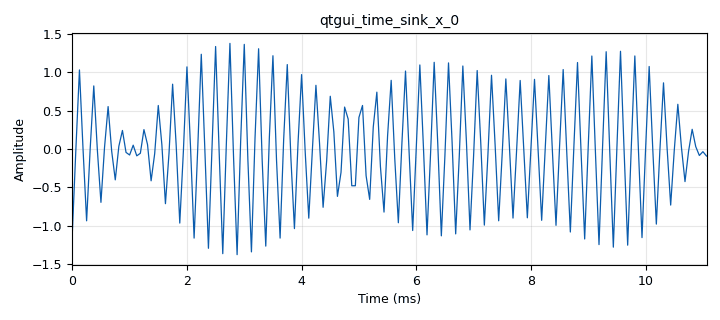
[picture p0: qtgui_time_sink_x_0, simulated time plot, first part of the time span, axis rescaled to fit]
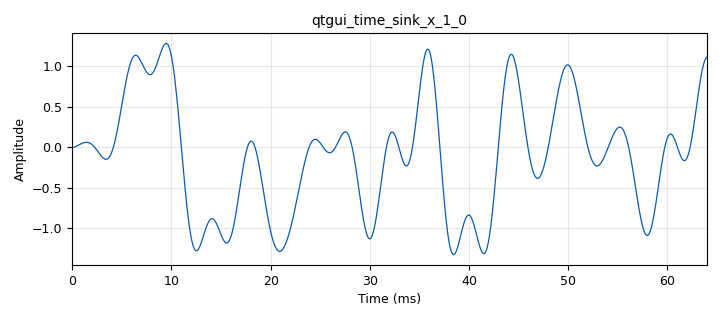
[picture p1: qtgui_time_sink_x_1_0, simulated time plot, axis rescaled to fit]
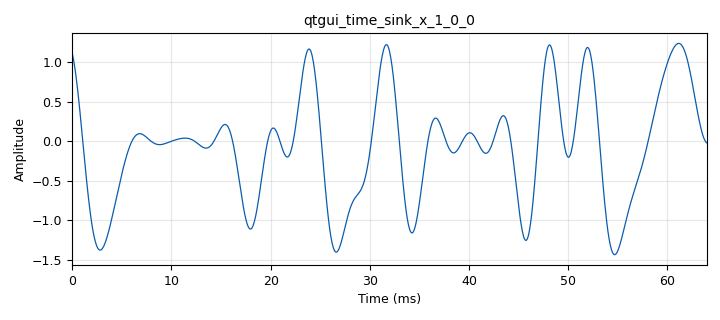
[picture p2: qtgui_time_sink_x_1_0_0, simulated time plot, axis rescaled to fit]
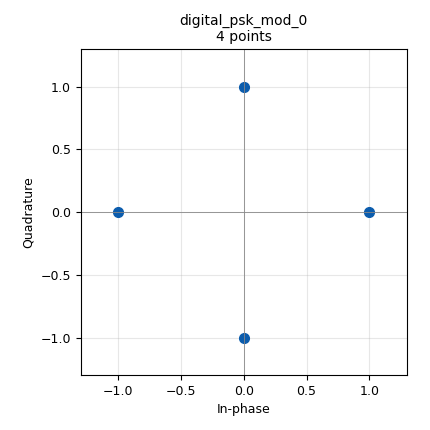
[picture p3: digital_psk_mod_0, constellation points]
<?xml version='1.0' encoding='utf-8'?>
<?grc format='1' created='3.7.9'?>
<flow_graph>
<block>
<key>options</key>
<param><key>id</key><value>top_block</value></param>
<param><key>category</key><value>Custom</value></param>
<param><key>generate_options</key><value>qt_gui</value></param>
<param><key>run_options</key><value>run</value></param>
</block>
<block>
<key>variable</key>
<param><key>id</key><value>carrier_frequency</value></param>
<param><key>value</key><value>4e3</value></param>
</block>
<block>
<key>variable</key>
<param><key>id</key><value>samp_rate</value></param>
<param><key>value</key><value>16e3</value></param>
</block>
<block>
<key>analog_random_source_x</key>
<param><key>id</key><value>analog_random_source_x_0</value></param>
<param><key>max</key><value>256</value></param>
<param><key>min</key><value>0</value></param>
<param><key>num_samps</key><value>10000</value></param>
<param><key>type</key><value>byte</value></param>
<param><key>repeat</key><value>False</value></param>
</block>
<block>
<key>analog_sig_source_x</key>
<param><key>id</key><value>analog_sig_source_x_0</value></param>
<param><key>amp</key><value>1</value></param>
<param><key>freq</key><value>carrier_frequency</value></param>
<param><key>offset</key><value>0</value></param>
<param><key>type</key><value>float</value></param>
<param><key>samp_rate</key><value>samp_rate</value></param>
<param><key>waveform</key><value>analog.GR_SIN_WAVE</value></param>
</block>
<block>
<key>analog_sig_source_x</key>
<param><key>id</key><value>analog_sig_source_x_0_0</value></param>
<param><key>amp</key><value>1</value></param>
<param><key>freq</key><value>carrier_frequency</value></param>
<param><key>offset</key><value>0</value></param>
<param><key>type</key><value>float</value></param>
<param><key>samp_rate</key><value>samp_rate</value></param>
<param><key>waveform</key><value>analog.GR_COS_WAVE</value></param>
</block>
<block>
<key>blocks_add_xx</key>
<param><key>id</key><value>blocks_add_xx_0</value></param>
<param><key>type</key><value>float</value></param>
</block>
<block>
<key>blocks_complex_to_float</key>
<param><key>id</key><value>blocks_complex_to_float_0</value></param>
</block>
<block>
<key>blocks_file_sink</key>
<param><key>id</key><value>blocks_file_sink_0</value></param>
<param><key>file</key><value>/home/vignesh/research/cyclo/gnuradio_dumps/qpsk_carrier</value></param>
<param><key>type</key><value>float</value></param>
</block>
<block>
<key>blocks_multiply_const_vxx</key>
<param><key>id</key><value>blocks_multiply_const_vxx_0</value></param>
<param><key>const</key><value>-1</value></param>
<param><key>type</key><value>float</value></param>
</block>
<block>
<key>blocks_multiply_xx</key>
<param><key>id</key><value>blocks_multiply_xx_0</value></param>
<param><key>type</key><value>float</value></param>
</block>
<block>
<key>blocks_multiply_xx</key>
<param><key>id</key><value>blocks_multiply_xx_0_0</value></param>
<param><key>type</key><value>float</value></param>
</block>
<block>
<key>digital_psk_mod</key>
<param><key>id</key><value>digital_psk_mod_0</value></param>
<param><key>differential</key><value>True</value></param>
<param><key>excess_bw</key><value>0.25</value></param>
<param><key>mod_code</key><value>"gray"</value></param>
<param><key>constellation_points</key><value>4</value></param>
<param><key>samples_per_symbol</key><value>32</value></param>
</block>
<block>
<key>qtgui_time_sink_x</key>
<param><key>id</key><value>qtgui_time_sink_x_0</value></param>
<param><key>color1</key><value>"blue"</value></param>
<param><key>label1</key><value></value></param>
<param><key>size</key><value>1024</value></param>
<param><key>srate</key><value>samp_rate</value></param>
<param><key>type</key><value>float</value></param>
</block>
<block>
<key>qtgui_time_sink_x</key>
<param><key>id</key><value>qtgui_time_sink_x_1</value></param>
<param><key>_enabled</key><value>0</value></param>
<param><key>color1</key><value>"blue"</value></param>
<param><key>label1</key><value></value></param>
<param><key>color2</key><value>"red"</value></param>
<param><key>label2</key><value></value></param>
<param><key>size</key><value>1024</value></param>
<param><key>srate</key><value>samp_rate</value></param>
<param><key>type</key><value>complex</value></param>
</block>
<block>
<key>qtgui_time_sink_x</key>
<param><key>id</key><value>qtgui_time_sink_x_1_0</value></param>
<param><key>color1</key><value>"blue"</value></param>
<param><key>label1</key><value></value></param>
<param><key>size</key><value>1024</value></param>
<param><key>srate</key><value>samp_rate</value></param>
<param><key>type</key><value>float</value></param>
</block>
<block>
<key>qtgui_time_sink_x</key>
<param><key>id</key><value>qtgui_time_sink_x_1_0_0</value></param>
<param><key>color1</key><value>"blue"</value></param>
<param><key>label1</key><value></value></param>
<param><key>size</key><value>1024</value></param>
<param><key>srate</key><value>samp_rate</value></param>
<param><key>type</key><value>float</value></param>
</block>
<connection><source_block_id>analog_random_source_x_0</source_block_id><sink_block_id>digital_psk_mod_0</sink_block_id><source_key>0</source_key><sink_key>0</sink_key></connection>
<connection><source_block_id>analog_sig_source_x_0</source_block_id><sink_block_id>blocks_multiply_xx_0</sink_block_id><source_key>0</source_key><sink_key>0</sink_key></connection>
<connection><source_block_id>analog_sig_source_x_0_0</source_block_id><sink_block_id>blocks_multiply_const_vxx_0</sink_block_id><source_key>0</source_key><sink_key>0</sink_key></connection>
<connection><source_block_id>blocks_add_xx_0</source_block_id><sink_block_id>blocks_file_sink_0</sink_block_id><source_key>0</source_key><sink_key>0</sink_key></connection>
<connection><source_block_id>blocks_add_xx_0</source_block_id><sink_block_id>qtgui_time_sink_x_0</sink_block_id><source_key>0</source_key><sink_key>0</sink_key></connection>
<connection><source_block_id>blocks_complex_to_float_0</source_block_id><sink_block_id>blocks_multiply_xx_0_0</sink_block_id><source_key>1</source_key><sink_key>0</sink_key></connection>
<connection><source_block_id>blocks_complex_to_float_0</source_block_id><sink_block_id>qtgui_time_sink_x_1_0_0</sink_block_id><source_key>1</source_key><sink_key>0</sink_key></connection>
<connection><source_block_id>blocks_complex_to_float_0</source_block_id><sink_block_id>blocks_multiply_xx_0</sink_block_id><source_key>0</source_key><sink_key>1</sink_key></connection>
<connection><source_block_id>blocks_complex_to_float_0</source_block_id><sink_block_id>qtgui_time_sink_x_1_0</sink_block_id><source_key>0</source_key><sink_key>0</sink_key></connection>
<connection><source_block_id>blocks_multiply_const_vxx_0</source_block_id><sink_block_id>blocks_multiply_xx_0_0</sink_block_id><source_key>0</source_key><sink_key>1</sink_key></connection>
<connection><source_block_id>blocks_multiply_xx_0</source_block_id><sink_block_id>blocks_add_xx_0</sink_block_id><source_key>0</source_key><sink_key>0</sink_key></connection>
<connection><source_block_id>blocks_multiply_xx_0_0</source_block_id><sink_block_id>blocks_add_xx_0</sink_block_id><source_key>0</source_key><sink_key>1</sink_key></connection>
<connection><source_block_id>digital_psk_mod_0</source_block_id><sink_block_id>blocks_complex_to_float_0</sink_block_id><source_key>0</source_key><sink_key>0</sink_key></connection>
<connection><source_block_id>digital_psk_mod_0</source_block_id><sink_block_id>qtgui_time_sink_x_1</sink_block_id><source_key>0</source_key><sink_key>0</sink_key></connection>
</flow_graph>
